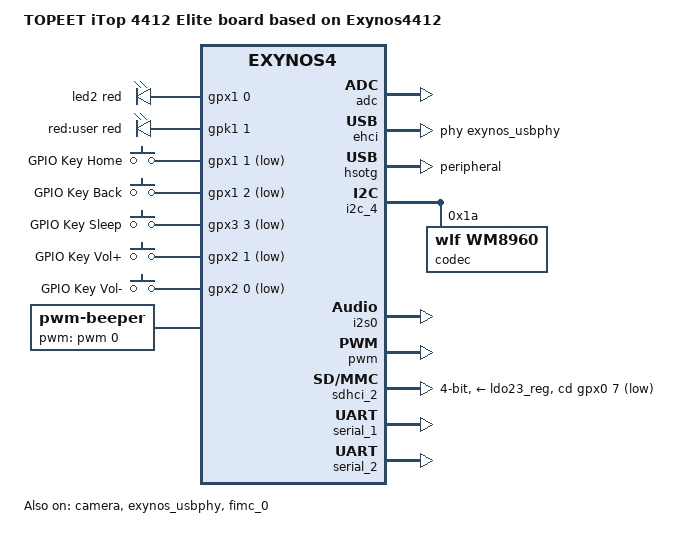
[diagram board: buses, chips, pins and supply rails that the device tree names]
// SPDX-License-Identifier: GPL-2.0
/*
 * TOPEET's Exynos4412 based itop board device tree source
 *
 * Copyright (c) 2016 SUMOMO Computer Association
 *			https://www.sumomo.mobi
 *			Randy Li <ayaka@soulik.info>
 *
 * Device tree source file for TOPEET iTop Exynos 4412 core board
 * which is based on Samsung's Exynos4412 SoC.
 */

/dts-v1/;
#include <dt-bindings/leds/common.h>
#include <dt-bindings/pwm/pwm.h>
#include <dt-bindings/sound/samsung-i2s.h>
#include "exynos4412-itop-scp-core.dtsi"

/ {
	model = "TOPEET iTop 4412 Elite board based on Exynos4412";
	compatible = "topeet,itop4412-elite", "samsung,exynos4412", "samsung,exynos4";

	chosen {
		bootargs = "root=/dev/mmcblk0p2 rw rootfstype=ext4 rootdelay=1 rootwait";
		stdout-path = "serial2:115200n8";
	};

	leds {
		compatible = "gpio-leds";

		led2 {
			function = LED_FUNCTION_HEARTBEAT;
			color = <LED_COLOR_ID_RED>;
			gpios = <&gpx1 0 GPIO_ACTIVE_HIGH>;
			default-state = "off";
			linux,default-trigger = "heartbeat";
		};

		led3 {
			label = "red:user";
			color = <LED_COLOR_ID_RED>;
			gpios = <&gpk1 1 GPIO_ACTIVE_HIGH>;
			default-state = "off";
		};
	};

	gpio-keys {
		compatible = "gpio-keys";

		key-home {
			label = "GPIO Key Home";
			linux,code = <KEY_HOME>;
			gpios = <&gpx1 1 GPIO_ACTIVE_LOW>;
		};

		key-back {
			label = "GPIO Key Back";
			linux,code = <KEY_BACK>;
			gpios = <&gpx1 2 GPIO_ACTIVE_LOW>;
		};

		key-sleep {
			label = "GPIO Key Sleep";
			linux,code = <KEY_POWER>;
			gpios = <&gpx3 3 GPIO_ACTIVE_LOW>;
		};

		key-vol-up {
			label = "GPIO Key Vol+";
			linux,code = <KEY_UP>;
			gpios = <&gpx2 1 GPIO_ACTIVE_LOW>;
		};

		key-vol-down {
			label = "GPIO Key Vol-";
			linux,code = <KEY_DOWN>;
			gpios = <&gpx2 0 GPIO_ACTIVE_LOW>;
		};
	};

	sound {
		compatible = "simple-audio-card";
		simple-audio-card,name = "wm-sound";

		simple-audio-card,format = "i2s";
		simple-audio-card,bitclock-master = <&link0_codec>;
		simple-audio-card,frame-master = <&link0_codec>;

		simple-audio-card,widgets =
			"Microphone", "Mic Jack",
			"Line", "Line In",
			"Line", "Line Out",
			"Speaker", "Speaker",
			"Headphone", "Headphone Jack";
		simple-audio-card,routing =
			"Headphone Jack", "HP_L",
			"Headphone Jack", "HP_R",
			"Speaker", "SPK_LP",
			"Speaker", "SPK_LN",
			"Speaker", "SPK_RP",
			"Speaker", "SPK_RN",
			"LINPUT1", "Mic Jack",
			"LINPUT3", "Mic Jack",
			"RINPUT1", "Mic Jack",
			"RINPUT2", "Mic Jack";

		simple-audio-card,cpu {
			sound-dai = <&i2s0 0>;
		};

		link0_codec: simple-audio-card,codec {
			sound-dai = <&codec>;
			clocks = <&i2s0 CLK_I2S_CDCLK>;
			system-clock-frequency = <11289600>;
		};
	};

	beep {
		compatible = "pwm-beeper";
		pwms = <&pwm 0 4000000 PWM_POLARITY_INVERTED>;
	};
};

&adc {
	vdd-supply = <&ldo3_reg>;
	status = "okay";
};

&camera {
	pinctrl-0 = <&cam_port_a_clk_active>;
	pinctrl-names = "default";
	status = "okay";
	assigned-clocks = <&clock CLK_MOUT_CAM0>;
	assigned-clock-parents = <&clock CLK_XUSBXTI>;
};

&clock_audss {
	assigned-clocks = <&clock_audss EXYNOS_MOUT_AUDSS>,
			<&clock_audss EXYNOS_MOUT_I2S>,
			<&clock_audss EXYNOS_DOUT_SRP>,
			<&clock_audss EXYNOS_DOUT_AUD_BUS>;
	assigned-clock-parents = <&clock CLK_FOUT_EPLL>,
			<&clock_audss EXYNOS_MOUT_AUDSS>;
	assigned-clock-rates = <0>, <0>, <112896000>, <11289600>;
};

&ehci {
	status = "okay";
	/* In order to reset USB ethernet */
	samsung,vbus-gpio = <&gpc0 1 GPIO_ACTIVE_HIGH>;

	phys = <&exynos_usbphy 1>, <&exynos_usbphy 3>;
	phy-names = "host", "hsic1";
};

&exynos_usbphy {
	status = "okay";
};

&fimc_0 {
	status = "okay";
	assigned-clocks = <&clock CLK_MOUT_FIMC0>,
			<&clock CLK_SCLK_FIMC0>;
	assigned-clock-parents = <&clock CLK_MOUT_MPLL_USER_T>;
	assigned-clock-rates = <0>, <176000000>;
};

&hsotg {
	dr_mode = "peripheral";
	status = "okay";
};

&i2c_4 {
	samsung,i2c-sda-delay = <100>;
	samsung,i2c-slave-addr = <0x10>;
	samsung,i2c-max-bus-freq = <100000>;
	pinctrl-0 = <&i2c4_bus>;
	pinctrl-names = "default";
	status = "okay";

	codec: audio-codec@1a {
		compatible = "wlf,wm8960";
		reg = <0x1a>;
		clocks = <&pmu_system_controller 0>;
		clock-names = "mclk";
		wlf,shared-lrclk;
		#sound-dai-cells = <0>;
	};
};

&i2s0 {
	pinctrl-0 = <&i2s0_bus>;
	pinctrl-names = "default";
	status = "okay";
};

&pinctrl_1 {
	ether-reset-pins {
		samsung,pins = "gpc0-1";
		samsung,pin-function = <EXYNOS_PIN_FUNC_INPUT>;
		samsung,pin-pud = <EXYNOS_PIN_PULL_NONE>;
		samsung,pin-drv = <EXYNOS4_PIN_DRV_LV1>;
	};
};

&pwm {
	status = "okay";
	pinctrl-0 = <&pwm0_out>;
	pinctrl-names = "default";
	samsung,pwm-outputs = <0>;
};

&sdhci_2 {
	bus-width = <4>;
	pinctrl-0 = <&sd2_clk &sd2_cmd &sd2_bus4>;
	pinctrl-names = "default";
	cd-gpios = <&gpx0 7 GPIO_ACTIVE_LOW>;
	cap-sd-highspeed;
	vmmc-supply = <&ldo23_reg>;
	vqmmc-supply = <&ldo17_reg>;
	status = "okay";
};

&serial_1 {
	status = "okay";
};

&serial_2 {
	status = "okay";
};
